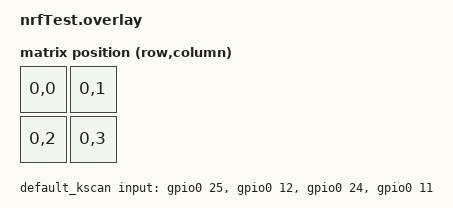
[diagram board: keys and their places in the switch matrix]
#include <dt-bindings/zmk/matrix_transform.h>
#include <zephyr/dt-bindings/input/input-event-codes.h>
#include <input/processors.dtsi>
#include <dt-bindings/zmk/input_transform.h>
#include <dt-bindings/zmk/bt.h>
#include <dt-bindings/zmk/mouse.h>
#include <dt-bindings/zmk/outputs.h>
#include <behaviors/mouse_keys.dtsi>
#include <dt-bindings/zmk/ext_power.h>

#define INPUT_EV_KEY 0x01               /**< Key event */
#define INPUT_EV_REL 0x02               /**< Relative coordinate event */
#define INPUT_EV_ABS 0x03               /**< Absolute coordinate event */
#define INPUT_EV_MSC 0x04               /**< Miscellaneous event */
#define INPUT_EV_VENDOR_START 0xf0      /**< Vendor specific event start */
#define INPUT_EV_VENDOR_STOP 0xff       /**< Vendor specific event stop */

#define INPUT_REL_X 0x00                /**< Relative X coordinate */
#define INPUT_REL_Y 0x01                /**< Relative Y coordinate */
#define INPUT_REL_WHEEL 0x08            /**< Relative wheel coordinate */
#define INPUT_REL_HWHEEL 0x06           /**< Relative horizontal wheel coordinate */
#define INPUT_REL_MISC 0x09             /**< Relative misc coordinate */

&pinctrl {
    spi0_default: spi0_default {
        group1 {
            psels = <NRF_PSEL(SPIM_SCK, 0, 8)>,
                <NRF_PSEL(SPIM_MOSI, 0, 17)>,
                <NRF_PSEL(SPIM_MISO, 0, 17)>;
        };
    };

    spi0_sleep: spi0_sleep {
        group1 {
            psels = <NRF_PSEL(SPIM_SCK, 0, 8)>,
                <NRF_PSEL(SPIM_MOSI, 0, 17)>,
                <NRF_PSEL(SPIM_MISO, 0, 17)>;
            low-power-enable;
        };
    };

    spi0_SDA: spi0_SDA {
        group1 {
            psels = <NRF_PSEL(SPIM_SCK, 0, 8)>,
                <NRF_PSEL(SPIM_MOSI, 0, 17)>,
                <NRF_PSEL(SPIM_MISO, 0, 17)>;
        };
    };

    spi1_default: spi1_default {
        group1 {
            psels = <NRF_PSEL(SPIM_SCK, 1, 3)>,
                <NRF_PSEL(SPIM_MOSI, 1, 11)>,
                <NRF_PSEL(SPIM_MISO, 1, 13)>;
        };
    };

    spi1_sleep: spi1_sleep {
        group1 {
            psels = <NRF_PSEL(SPIM_SCK, 1, 3)>,
                <NRF_PSEL(SPIM_MOSI, 1, 11)>,
                <NRF_PSEL(SPIM_MISO, 1, 13)>;
            low-power-enable;
        };
    };
};

&spi0 {
    status = "okay";
    compatible = "nordic,nrf-spim";
    pinctrl-0 = <&spi0_default>;
    pinctrl-1 = <&spi0_sleep>;
    pinctrl-names = "default", "sleep";
    cs-gpios = <&gpio0 20 GPIO_ACTIVE_LOW>;

    trackball: trackball@0 {
        status = "okay";
        compatible = "pixart,pmw3610";
        reg = <0>;
        spi-max-frequency = <2000000>;
        irq-gpios = <&gpio0 6 (GPIO_ACTIVE_LOW | GPIO_PULL_UP)>;
        cpi = <600>;
        evt-type = <INPUT_EV_REL>;
        x-input-code = <INPUT_REL_X>;
        y-input-code = <INPUT_REL_Y>;
    };
};

&spi1 {
    status = "okay";
    compatible = "nordic,nrf-spim";
    pinctrl-0 = <&spi1_default>;
    pinctrl-1 = <&spi1_sleep>;
    pinctrl-names = "default", "sleep";
    cs-gpios = <&gpio0 31 GPIO_ACTIVE_LOW>;

    glidepoint: glidepoint@0 {
        status = "okay";
        compatible = "cirque,pinnacle";
        reg = <0>;
        spi-max-frequency = <1000000>;
        dr-gpios = <&gpio1 15 (GPIO_ACTIVE_HIGH)>;

        x-invert;
        //sensitivity = "3x";
    };
};

/ {
    trackball_listener {
        status = "okay";
        compatible = "zmk,input-listener";
        device = <&trackball>;
        input-processors = <&zip_xy_transform (INPUT_TRANSFORM_X_INVERT | INPUT_TRANSFORM_Y_INVERT)>;
    };

    glidepoint_listener {
        status = "okay";
        compatible = "zmk,input-listener";
        device = <&glidepoint>;

        scroller {
            layers = <1>;
            input-processors = <&zip_xy_to_scroll_mapper>;
        };
    };

    chosen {
        zmk,kscan = &default_kscan;
        zmk,matrix-transform = &default_transform;
    };

    default_kscan: kscan {
        compatible = "zmk,kscan-gpio-direct";
        label = "default_kscan";

        input-gpios = 
            <&gpio0 25 (GPIO_ACTIVE_LOW | GPIO_PULL_UP)>, <&gpio0 12 (GPIO_ACTIVE_LOW | GPIO_PULL_UP)>,
            <&gpio0 24 (GPIO_ACTIVE_LOW | GPIO_PULL_UP)>, <&gpio0 11 (GPIO_ACTIVE_LOW | GPIO_PULL_UP)>;
    };

    default_transform: matrix_transform {
        compatible = "zmk,matrix-transform";
        rows = <1>;
        columns = <2>;
        map = <RC(0,0) RC(0,1)
               RC(0,2) RC(0,3)>;
    };

    // led blink test code for testing custom drivers

    // led_blink_0 { // for nice nano v2
    //     status = "okay";
    //     compatible = "led-blink-driver";
    //     led-gpios = <&gpio0 15 (GPIO_ACTIVE_LOW | GPIO_PULL_UP)>;
    //     irq-gpios = <&gpio0 29 (GPIO_ACTIVE_LOW | GPIO_PULL_UP)>;
    // };

    led_blink_0: led_blink { // for m2 chip
        status = "okay";
        compatible = "led-blink-driver";
        led-gpios = <&gpio0 13 (GPIO_ACTIVE_LOW | GPIO_PULL_UP)>;
        irq-gpios = <&gpio0 19 (GPIO_ACTIVE_LOW | GPIO_PULL_UP)>;
    };

    led_listener {
        compatible = "zmk,input-listener";
        device = <&led_blink_0>;
    };
};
